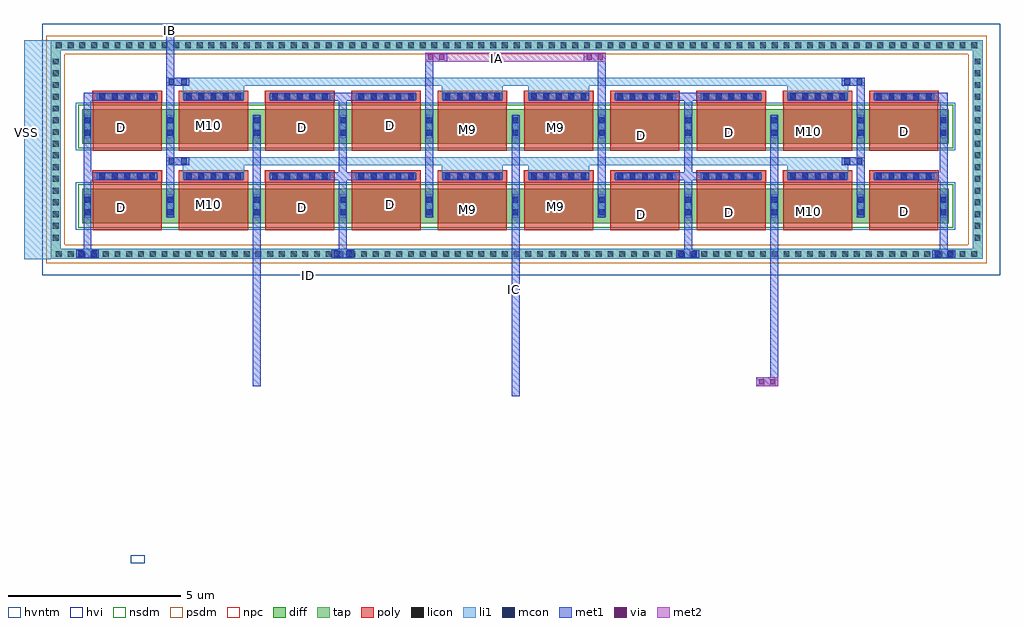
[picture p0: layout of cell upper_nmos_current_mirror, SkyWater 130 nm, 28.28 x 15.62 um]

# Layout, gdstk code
from math import pi, radians
import gdstk
lib = gdstk.Library(unit=1e-6, precision=1e-09)
def R(c, l, rs):  # rectangles x0, y0, x1, y1
    for r in rs: c.add(gdstk.rectangle(r[:2], r[2:], *l))
def A(c, l, x, y, w, h, nx, ny, dx, dy):  # array of equal rectangles
    R(c, l, [(x+i*dx, y+j*dy, x+i*dx+w, y+j*dy+h) for i in range(nx) for j in range(ny)])
def P(c, l, *ps):  # polygons
    for p in ps: c.add(gdstk.Polygon(p, *l))
diff = (65, 20)
tap = (65, 44)
poly = (66, 20)
licon = (66, 44)
li1 = (67, 20)
mcon = (67, 44)
met1 = (68, 20)
via = (68, 44)
met2 = (69, 20)
hvi = (75, 20)
nsdm = (93, 44)
psdm = (94, 20)
npc = (95, 20)
hvntm = (125, 20)

vias_gen_6 = lib.new_cell('vias_gen$6')
R(vias_gen_6, li1, [(0,0,0.66,0.23)])
R(vias_gen_6, mcon, [(0.065,0.03,0.235,0.2), (0.425,0.03,0.595,0.2)])
R(vias_gen_6, met1, [(0,0,0.66,0.23)])

nfet_1 = lib.new_cell('nfet$1')
R(nfet_1, diff, [(0,0,25.1,1)])
A(nfet_1, poly, 0.3, -0.2, 2, 1.4, 10, 1, 2.5, 0)
A(nfet_1, poly, 0.3, 1.2, 2, 0.33, 10, 1, 2.5, 0)
A(nfet_1, licon, 2.465, 0.235, 0.17, 0.17, 9, 2, 2.5, 0.36)
A(nfet_1, licon, 0.495, 1.28, 0.17, 0.17, 5, 1, 0.36, 0)
A(nfet_1, licon, 2.995, 1.28, 0.17, 0.17, 5, 1, 0.36, 0)
A(nfet_1, licon, 5.495, 1.28, 0.17, 0.17, 5, 1, 0.36, 0)
A(nfet_1, licon, 7.995, 1.28, 0.17, 0.17, 5, 1, 0.36, 0)
A(nfet_1, licon, 10.495, 1.28, 0.17, 0.17, 5, 1, 0.36, 0)
A(nfet_1, licon, 12.995, 1.28, 0.17, 0.17, 5, 1, 0.36, 0)
A(nfet_1, licon, 15.495, 1.28, 0.17, 0.17, 5, 1, 0.36, 0)
A(nfet_1, licon, 17.995, 1.28, 0.17, 0.17, 5, 1, 0.36, 0)
A(nfet_1, licon, 20.495, 1.28, 0.17, 0.17, 5, 1, 0.36, 0)
A(nfet_1, licon, 22.995, 1.28, 0.17, 0.17, 5, 1, 0.36, 0)
R(nfet_1, licon, [(0.065,0.235,0.235,0.405), (24.865,0.235,25.035,0.405), (0.065,0.595,0.235,0.765), (24.865,0.595,25.035,0.765)])
A(nfet_1, li1, 2.465, 0.155, 0.17, 0.69, 9, 1, 2.5, 0)
A(nfet_1, li1, 0.415, 1.28, 1.77, 0.17, 10, 1, 2.5, 0)
R(nfet_1, li1, [(0.065,0.155,0.235,0.845), (24.865,0.155,25.035,0.845)])
A(nfet_1, mcon, 2.465, 0.235, 0.17, 0.17, 9, 2, 2.5, 0.36)
A(nfet_1, mcon, 0.495, 1.28, 0.17, 0.17, 5, 1, 0.36, 0)
A(nfet_1, mcon, 2.995, 1.28, 0.17, 0.17, 5, 1, 0.36, 0)
A(nfet_1, mcon, 5.495, 1.28, 0.17, 0.17, 5, 1, 0.36, 0)
A(nfet_1, mcon, 7.995, 1.28, 0.17, 0.17, 5, 1, 0.36, 0)
A(nfet_1, mcon, 10.495, 1.28, 0.17, 0.17, 5, 1, 0.36, 0)
A(nfet_1, mcon, 12.995, 1.28, 0.17, 0.17, 5, 1, 0.36, 0)
A(nfet_1, mcon, 15.495, 1.28, 0.17, 0.17, 5, 1, 0.36, 0)
A(nfet_1, mcon, 17.995, 1.28, 0.17, 0.17, 5, 1, 0.36, 0)
A(nfet_1, mcon, 20.495, 1.28, 0.17, 0.17, 5, 1, 0.36, 0)
A(nfet_1, mcon, 22.995, 1.28, 0.17, 0.17, 5, 1, 0.36, 0)
R(nfet_1, mcon, [(0.065,0.235,0.235,0.405), (24.865,0.235,25.035,0.405), (0.065,0.595,0.235,0.765), (24.865,0.595,25.035,0.765)])
A(nfet_1, met1, 2.435, 0.175, 0.23, 0.65, 9, 1, 2.5, 0)
A(nfet_1, met1, 0.435, 1.25, 1.73, 0.23, 10, 1, 2.5, 0)
R(nfet_1, met1, [(0.035,0.175,0.265,0.825), (24.835,0.175,25.065,0.825)])
R(nfet_1, hvi, [(-0.37,-0.385,25.47,1.725)])
R(nfet_1, nsdm, [(-0.125,-0.125,25.225,1.125)])
A(nfet_1, npc, 0.29, 1.19, 2.02, 0.35, 10, 1, 2.5, 0)
R(nfet_1, hvntm, [(-0.185,-0.185,25.285,1.185)])

vias_gen_1 = lib.new_cell('vias_gen$1')
R(vias_gen_1, met1, [(0,0,0.64,0.26)])
R(vias_gen_1, via, [(0.085,0.055,0.235,0.205), (0.405,0.055,0.555,0.205)])
R(vias_gen_1, met2, [(0,0,0.64,0.26)])

vias_gen_8 = lib.new_cell('vias_gen$8')
R(vias_gen_8, tap, [(0,0,27,0.29)])
A(vias_gen_8, licon, 0.155, 0.06, 0.17, 0.17, 79, 1, 0.34, 0)
R(vias_gen_8, li1, [(0,0,27,0.29)])
R(vias_gen_8, psdm, [(-0.125,-0.125,27.125,0.415)])

vias_gen_10 = lib.new_cell('vias_gen$10')
R(vias_gen_10, tap, [(0,0,5.76,0.29)])
A(vias_gen_10, licon, 0.245, 0.06, 0.17, 0.17, 16, 1, 0.34, 0)
R(vias_gen_10, li1, [(0,0,5.76,0.29)])
R(vias_gen_10, psdm, [(-0.125,-0.125,5.885,0.415)])

upper_nmos_current_mirro = lib.new_cell('upper_nmos_current_mirror')
R(upper_nmos_current_mirro, li1, [(-28.51,-50.62,-27.74,-44.275), (-23.905,-48.13,-22.135,-47.67), (-16.405,-48.13,-14.635,-47.67), (-13.905,-48.13,-12.135,-47.67), (-6.405,-48.13,-4.635,-47.67), (-23.725,-47.9,-4.265,-47.67), (-23.905,-45.825,-22.135,-45.365), (-16.405,-45.825,-14.635,-45.365), (-13.905,-45.825,-12.135,-45.365), (-6.405,-45.825,-4.635,-45.365), (-23.725,-45.595,-4.265,-45.365)])
R(upper_nmos_current_mirro, met1, [(-14.385,-54.595,-14.155,-49.4), (-21.885,-54.305,-21.655,-49.405), (-6.885,-54.305,-6.655,-49.405), (-9.385,-50.505,-9.155,-49.405), (-26.785,-50.47,-26.555,-49.405), (-1.985,-50.445,-1.755,-49.405), (-19.385,-50.425,-19.155,-49.405), (-14.385,-48.915,-14.155,-48.21), (-21.885,-48.76,-21.655,-48.21), (-24.385,-48.755,-24.155,-47.67), (-19.385,-48.755,-19.155,-46.915), (-16.885,-48.755,-16.655,-47.18), (-11.885,-48.755,-11.655,-47.18), (-9.385,-48.755,-9.155,-48.13), (-6.885,-48.755,-6.655,-48.495), (-4.385,-48.755,-4.155,-47.67), (-1.985,-48.755,-1.755,-47.04), (-6.885,-48.675,-6.655,-47.1), (-26.785,-48.33,-26.385,-48.1), (-19.655,-48.33,-18.88,-48.1), (-9.655,-48.33,-8.88,-48.1), (-2.155,-48.33,-1.755,-48.1), (-21.885,-48.22,-21.655,-47.1), (-14.385,-48.215,-14.155,-47.095), (-9.385,-48.13,-9.155,-46.995), (-24.385,-47.925,-24.155,-47.1), (-4.385,-47.67,-4.155,-47.025), (-16.885,-47.18,-16.655,-46.665), (-11.885,-47.18,-11.655,-46.63), (-24.385,-46.45,-24.155,-43.89), (-19.385,-46.45,-19.155,-46.01), (-16.885,-46.45,-16.655,-44.875), (-11.885,-46.45,-11.655,-44.875), (-9.385,-46.45,-9.155,-45.825), (-4.385,-46.45,-4.155,-45.365), (-1.985,-46.45,-1.755,-45.885), (-26.785,-46.025,-26.385,-45.795), (-19.655,-46.025,-18.88,-45.795), (-9.655,-46.025,-8.88,-45.795), (-2.155,-46.025,-1.755,-45.795)])
P(upper_nmos_current_mirro, met1, [(-26.785,-46.45),(-26.785,-45.835),(-26.595,-45.835),(-26.555,-45.835),(-26.555,-46.45)],
  [(-26.785,-48.755),(-26.785,-47.09),(-26.555,-47.09),(-26.555,-48.14),(-26.555,-48.755)])
R(upper_nmos_current_mirro, met2, [(-16.245,-44.895,-11.88,-44.635)])
R(upper_nmos_current_mirro, hvi, [(-25.415,-59.425,-25.015,-59.195), (-25.415,-59.425,-25.015,-59.195), (-27.985,-51.085,-0.235,-43.805)])
upper_nmos_current_mirro.add(gdstk.Reference(vias_gen_6, (-24.385,-45.595)))
upper_nmos_current_mirro.add(gdstk.Reference(vias_gen_6, (-4.155,-45.595), rotation=pi, x_reflection=True))
upper_nmos_current_mirro.add(gdstk.Reference(vias_gen_6, (-24.385,-47.9)))
upper_nmos_current_mirro.add(gdstk.Reference(vias_gen_6, (-4.155,-47.9), rotation=pi, x_reflection=True))
upper_nmos_current_mirro.add(gdstk.Reference(nfet_1, (-26.82,-49.58)))
upper_nmos_current_mirro.add(gdstk.Reference(vias_gen_1, (-16.885,-44.895)))
upper_nmos_current_mirro.add(gdstk.Reference(vias_gen_1, (-12.295,-44.895)))
upper_nmos_current_mirro.add(gdstk.Reference(vias_gen_1, (-7.295,-54.305)))
upper_nmos_current_mirro.add(gdstk.Reference(vias_gen_8, (-27.74,-50.615)))
upper_nmos_current_mirro.add(gdstk.Reference(vias_gen_10, (-0.74,-50.325), rotation=pi/2))
upper_nmos_current_mirro.add(gdstk.Reference(vias_gen_10, (-27.45,-50.325), rotation=pi/2))
upper_nmos_current_mirro.add(gdstk.Reference(vias_gen_6, (-27,-50.58)))
upper_nmos_current_mirro.add(gdstk.Reference(vias_gen_6, (-19.6,-50.58)))
upper_nmos_current_mirro.add(gdstk.Reference(vias_gen_6, (-9.61,-50.585)))
upper_nmos_current_mirro.add(gdstk.Reference(vias_gen_6, (-2.195,-50.585)))
upper_nmos_current_mirro.add(gdstk.Reference(nfet_1, (-26.82,-47.275)))
upper_nmos_current_mirro.add(gdstk.Reference(vias_gen_8, (-27.74,-44.565)))
upper_nmos_current_mirro.add(gdstk.Label('VSS', (-28.425,-46.955), layer=67, texttype=16))
upper_nmos_current_mirro.add(gdstk.Label('IB', (-24.285,-44.01), layer=68, texttype=16))
upper_nmos_current_mirro.add(gdstk.Label('IC', (-14.315,-51.505), layer=68, texttype=16))
upper_nmos_current_mirro.add(gdstk.Label('IA', (-14.815,-44.8), layer=69, texttype=16))
upper_nmos_current_mirro.add(gdstk.Label('ID', (-20.275,-51.105), layer=69, texttype=16))
upper_nmos_current_mirro.add(gdstk.Label('D', (-25.69,-46.815), layer=68, texttype=25))
upper_nmos_current_mirro.add(gdstk.Label('M10', (-23.16,-46.735), layer=68, texttype=25))
upper_nmos_current_mirro.add(gdstk.Label('D', (-20.435,-46.815), layer=68, texttype=25))
upper_nmos_current_mirro.add(gdstk.Label('D', (-17.905,-46.735), layer=68, texttype=25))
upper_nmos_current_mirro.add(gdstk.Label('M9', (-15.655,-46.875), layer=68, texttype=25))
upper_nmos_current_mirro.add(gdstk.Label('M9', (-13.125,-46.795), layer=68, texttype=25))
upper_nmos_current_mirro.add(gdstk.Label('D', (-10.61,-47.035), layer=68, texttype=25))
upper_nmos_current_mirro.add(gdstk.Label('D', (-8.08,-46.955), layer=68, texttype=25))
upper_nmos_current_mirro.add(gdstk.Label('M10', (-5.77,-46.93), layer=68, texttype=25))
upper_nmos_current_mirro.add(gdstk.Label('D', (-3.005,-46.935), layer=68, texttype=25))
upper_nmos_current_mirro.add(gdstk.Label('D', (-25.69,-49.12), layer=68, texttype=25))
upper_nmos_current_mirro.add(gdstk.Label('M10', (-23.16,-49.04), layer=68, texttype=25))
upper_nmos_current_mirro.add(gdstk.Label('D', (-20.435,-49.12), layer=68, texttype=25))
upper_nmos_current_mirro.add(gdstk.Label('D', (-17.905,-49.04), layer=68, texttype=25))
upper_nmos_current_mirro.add(gdstk.Label('M9', (-15.655,-49.18), layer=68, texttype=25))
upper_nmos_current_mirro.add(gdstk.Label('M9', (-13.125,-49.1), layer=68, texttype=25))
upper_nmos_current_mirro.add(gdstk.Label('D', (-10.61,-49.34), layer=68, texttype=25))
upper_nmos_current_mirro.add(gdstk.Label('D', (-8.08,-49.26), layer=68, texttype=25))
upper_nmos_current_mirro.add(gdstk.Label('M10', (-5.77,-49.235), layer=68, texttype=25))
upper_nmos_current_mirro.add(gdstk.Label('D', (-3.005,-49.24), layer=68, texttype=25))

lib.write_gds('upper_nmos_current_mirror.gds')
